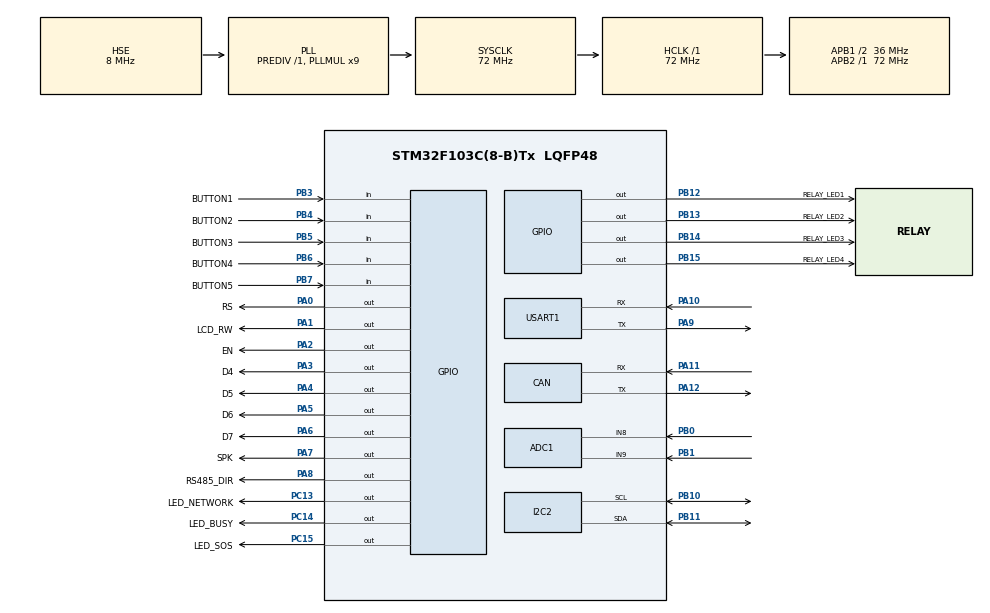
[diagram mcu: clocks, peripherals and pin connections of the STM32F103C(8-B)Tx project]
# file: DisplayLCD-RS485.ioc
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ADC1.Channel-0\#ChannelRegularConversion=ADC_CHANNEL_8
ADC1.Channel-1\#ChannelRegularConversion=ADC_CHANNEL_9
ADC1.ContinuousConvMode=ENABLE
ADC1.DataAlign=ADC_DATAALIGN_RIGHT
ADC1.DiscontinuousConvMode=DISABLE
ADC1.EnableAnalogWatchDog=false
ADC1.EnableRegularConversion=ENABLE
ADC1.ExternalTrigConv=ADC_SOFTWARE_START
ADC1.InjNumberOfConversion=0
ADC1.NbrOfConversion=2
ADC1.NbrOfConversionFlag=1
ADC1.Rank-0\#ChannelRegularConversion=1
ADC1.Rank-1\#ChannelRegularConversion=2
ADC1.SamplingTime-0\#ChannelRegularConversion=ADC_SAMPLETIME_41CYCLES_5
ADC1.SamplingTime-1\#ChannelRegularConversion=ADC_SAMPLETIME_41CYCLES_5
ADC1.ScanConvMode=ADC_SCAN_ENABLE
ADC1.master=1
CAN.BS1=CAN_BS1_1TQ
CAN.BS2=CAN_BS2_1TQ
CAN.CalculateTimeBit=1333
CAN.CalculateTimeQuantum=444.44444444444446
Dma.ADC1.0.Direction=DMA_PERIPH_TO_MEMORY
Dma.ADC1.0.Instance=DMA1_Channel1
Dma.ADC1.0.MemDataAlignment=DMA_MDATAALIGN_HALFWORD
Dma.ADC1.0.MemInc=DMA_MINC_ENABLE
Dma.ADC1.0.Mode=DMA_CIRCULAR
Dma.ADC1.0.PeriphDataAlignment=DMA_PDATAALIGN_HALFWORD
Dma.ADC1.0.PeriphInc=DMA_PINC_DISABLE
Dma.ADC1.0.Priority=DMA_PRIORITY_LOW
Dma.Request0=ADC1
IWDG.Prescaler=IWDG_PRESCALER_256
IWDG.Reload=1624
Mcu.Family=STM32F1
Mcu.Name=STM32F103C(8-B)Tx
Mcu.Package=LQFP48
NVIC.DMA1_Channel1_IRQn=true\:0\:0\:false\:false\:true\:false
NVIC.PriorityGroup=NVIC_PRIORITYGROUP_4
NVIC.USART1_IRQn=true\:0\:0\:false\:false\:true\:true
PA0-WKUP.GPIO_Label=RS
PA0-WKUP.GPIO_ModeDefaultOutputPP=GPIO_MODE_OUTPUT_PP
PA0-WKUP.GPIO_PuPd=GPIO_NOPULL
PA0-WKUP.GPIO_Speed=GPIO_SPEED_FREQ_HIGH
PA0-WKUP.PinState=GPIO_PIN_RESET
PA0-WKUP.Signal=GPIO_Output
PA1.GPIO_Label=LCD_RW
PA1.GPIO_ModeDefaultOutputPP=GPIO_MODE_OUTPUT_PP
PA1.GPIO_PuPd=GPIO_NOPULL
PA1.GPIO_Speed=GPIO_SPEED_FREQ_HIGH
PA1.PinState=GPIO_PIN_RESET
PA1.Signal=GPIO_Output
PA10.Mode=Asynchronous
PA10.Signal=USART1_RX
PA11.Mode=Master
PA11.Signal=CAN_RX
PA12.Mode=Master
PA12.Signal=CAN_TX
PA13.Mode=Serial_Wire
PA13.Signal=SYS_JTMS-SWDIO
PA14.Mode=Serial_Wire
PA14.Signal=SYS_JTCK-SWCLK
PA2.GPIO_Label=EN
PA2.GPIO_ModeDefaultOutputPP=GPIO_MODE_OUTPUT_PP
PA2.GPIO_PuPd=GPIO_NOPULL
PA2.GPIO_Speed=GPIO_SPEED_FREQ_HIGH
PA2.PinState=GPIO_PIN_RESET
PA2.Signal=GPIO_Output
PA3.GPIO_Label=D4
PA3.GPIO_ModeDefaultOutputPP=GPIO_MODE_OUTPUT_PP
PA3.GPIO_PuPd=GPIO_NOPULL
PA3.GPIO_Speed=GPIO_SPEED_FREQ_HIGH
PA3.PinState=GPIO_PIN_RESET
PA3.Signal=GPIO_Output
PA4.GPIO_Label=D5
PA4.GPIO_ModeDefaultOutputPP=GPIO_MODE_OUTPUT_PP
PA4.GPIO_PuPd=GPIO_NOPULL
PA4.GPIO_Speed=GPIO_SPEED_FREQ_HIGH
PA4.PinState=GPIO_PIN_RESET
PA4.Signal=GPIO_Output
PA5.GPIO_Label=D6
PA5.GPIO_ModeDefaultOutputPP=GPIO_MODE_OUTPUT_PP
PA5.GPIO_PuPd=GPIO_NOPULL
PA5.GPIO_Speed=GPIO_SPEED_FREQ_HIGH
PA5.PinState=GPIO_PIN_RESET
PA5.Signal=GPIO_Output
PA6.GPIO_Label=D7
PA6.GPIO_ModeDefaultOutputPP=GPIO_MODE_OUTPUT_PP
PA6.GPIO_PuPd=GPIO_NOPULL
PA6.GPIO_Speed=GPIO_SPEED_FREQ_HIGH
PA6.PinState=GPIO_PIN_RESET
PA6.Signal=GPIO_Output
PA7.GPIO_Label=SPK
PA7.GPIO_PuPd=GPIO_PULLUP
PA7.GPIO_Speed=GPIO_SPEED_FREQ_LOW
PA7.PinState=GPIO_PIN_RESET
PA7.Signal=GPIO_Output
PA8.GPIO_Label=RS485_DIR
PA8.GPIO_PuPd=GPIO_PULLDOWN
PA8.GPIO_Speed=GPIO_SPEED_FREQ_HIGH
PA8.PinState=GPIO_PIN_RESET
PA8.Signal=GPIO_Output
PA9.Mode=Asynchronous
PA9.Signal=USART1_TX
PB0.Signal=ADCx_IN8
PB1.Signal=ADCx_IN9
PB10.Mode=I2C
PB10.Signal=I2C2_SCL
PB11.Mode=I2C
PB11.Signal=I2C2_SDA
PB12.GPIO_Label=RELAY_LED1
PB12.GPIO_ModeDefaultOutputPP=GPIO_MODE_OUTPUT_PP
PB12.GPIO_PuPd=GPIO_PULLDOWN
PB12.PinState=GPIO_PIN_SET
PB12.Signal=GPIO_Output
PB13.GPIO_Label=RELAY_LED2
PB13.GPIO_ModeDefaultOutputPP=GPIO_MODE_OUTPUT_PP
PB13.GPIO_PuPd=GPIO_PULLDOWN
PB13.PinState=GPIO_PIN_SET
PB13.Signal=GPIO_Output
PB14.GPIO_Label=RELAY_LED3
PB14.GPIO_ModeDefaultOutputPP=GPIO_MODE_OUTPUT_PP
PB14.GPIO_PuPd=GPIO_PULLDOWN
PB14.PinState=GPIO_PIN_SET
PB14.Signal=GPIO_Output
PB15.GPIO_Label=RELAY_LED4
PB15.GPIO_ModeDefaultOutputPP=GPIO_MODE_OUTPUT_PP
PB15.GPIO_PuPd=GPIO_PULLDOWN
PB15.PinState=GPIO_PIN_SET
PB15.Signal=GPIO_Output
PB3.GPIO_Label=BUTTON1
PB3.GPIO_Mode=GPIO_MODE_INPUT
PB3.Signal=GPIO_Input
PB4.GPIO_Label=BUTTON2
PB4.GPIO_Mode=GPIO_MODE_INPUT
PB4.Signal=GPIO_Input
PB5.GPIO_Label=BUTTON3
PB5.GPIO_Mode=GPIO_MODE_INPUT
PB5.Signal=GPIO_Input
PB6.GPIO_Label=BUTTON4
PB6.GPIO_Mode=GPIO_MODE_INPUT
PB6.Signal=GPIO_Input
PB7.GPIO_Label=BUTTON5
PB7.GPIO_Mode=GPIO_MODE_INPUT
PB7.Signal=GPIO_Input
PC13-TAMPER-RTC.GPIO_Label=LED_NETWORK
PC13-TAMPER-RTC.GPIO_ModeDefaultOutputPP=GPIO_MODE_OUTPUT_PP
PC13-TAMPER-RTC.GPIO_PuPd=GPIO_PULLDOWN
PC13-TAMPER-RTC.PinState=GPIO_PIN_SET
PC13-TAMPER-RTC.Signal=GPIO_Output
PC14-OSC32_IN.GPIO_Label=LED_BUSY
PC14-OSC32_IN.GPIO_ModeDefaultOutputPP=GPIO_MODE_OUTPUT_PP
PC14-OSC32_IN.GPIO_PuPd=GPIO_PULLDOWN
PC14-OSC32_IN.PinState=GPIO_PIN_SET
PC14-OSC32_IN.Signal=GPIO_Output
PC15-OSC32_OUT.GPIO_Label=LED_SOS
PC15-OSC32_OUT.GPIO_ModeDefaultOutputPP=GPIO_MODE_OUTPUT_PP
PC15-OSC32_OUT.GPIO_PuPd=GPIO_PULLDOWN
PC15-OSC32_OUT.PinState=GPIO_PIN_SET
PC15-OSC32_OUT.Signal=GPIO_Output
PD0-OSC_IN.Mode=HSE-External-Oscillator
PD0-OSC_IN.Signal=RCC_OSC_IN
PD1-OSC_OUT.Mode=HSE-External-Oscillator
PD1-OSC_OUT.Signal=RCC_OSC_OUT
ProjectManager.HeapSize=0x200
ProjectManager.StackSize=0x400
ProjectManager.TargetToolchain=MDK-ARM V5
RCC.ADCPresc=RCC_ADCPCLK2_DIV6
RCC.AHBFreq_Value=72000000
RCC.APB1CLKDivider=RCC_HCLK_DIV2
RCC.APB1Freq_Value=36000000
RCC.APB1TimFreq_Value=72000000
RCC.APB2Freq_Value=72000000
RCC.APB2TimFreq_Value=72000000
RCC.HCLKFreq_Value=72000000
RCC.PLLMUL=RCC_PLL_MUL9
RCC.PLLSourceVirtual=RCC_PLLSOURCE_HSE
RCC.SYSCLKFreq_VALUE=72000000
RCC.SYSCLKSource=RCC_SYSCLKSOURCE_PLLCLK
RCC.USBFreq_Value=72000000
SH.ADCx_IN8.0=ADC1_IN8,IN8
SH.ADCx_IN9.0=ADC1_IN9,IN9
USART1.VirtualMode=VM_ASYNC
VP_IWDG_VS_IWDG.Mode=IWDG_Activate
board=custom

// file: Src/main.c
/**
  ******************************************************************************
  * @file           : main.c
  * @brief          : Main program body
  ******************************************************************************
  ** This notice applies to any and all portions of this file
  * that are not between comment pairs USER CODE BEGIN and
  * USER CODE END. Other portions of this file, whether
  * inserted by the user or by software development tools
  * are owned by their respective copyright owners.
  *
  * COPYRIGHT(c) 2020 STMicroelectronics
  *
  * Redistribution and use in source and binary forms, with or without modification,
  * are permitted provided that the following conditions are met:
  *   1. Redistributions of source code must retain the above copyright notice,
  *      this list of conditions and the following disclaimer.
  *   2. Redistributions in binary form must reproduce the above copyright notice,
  *      this list of conditions and the following disclaimer in the documentation
  *      and/or other materials provided with the distribution.
  *   3. Neither the name of STMicroelectronics nor the names of its contributors
  *      may be used to endorse or promote products derived from this software
  *      without specific prior written permission.
  *
  * THIS SOFTWARE IS PROVIDED BY THE COPYRIGHT HOLDERS AND CONTRIBUTORS "AS IS"
  * AND ANY EXPRESS OR IMPLIED WARRANTIES, INCLUDING, BUT NOT LIMITED TO, THE
  * IMPLIED WARRANTIES OF MERCHANTABILITY AND FITNESS FOR A PARTICULAR PURPOSE ARE
  * DISCLAIMED. IN NO EVENT SHALL THE COPYRIGHT HOLDER OR CONTRIBUTORS BE LIABLE
  * FOR ANY DIRECT, INDIRECT, INCIDENTAL, SPECIAL, EXEMPLARY, OR CONSEQUENTIAL
  * DAMAGES (INCLUDING, BUT NOT LIMITED TO, PROCUREMENT OF SUBSTITUTE GOODS OR
  * SERVICES; LOSS OF USE, DATA, OR PROFITS; OR BUSINESS INTERRUPTION) HOWEVER
  * CAUSED AND ON ANY THEORY OF LIABILITY, WHETHER IN CONTRACT, STRICT LIABILITY,
  * OR TORT (INCLUDING NEGLIGENCE OR OTHERWISE) ARISING IN ANY WAY OUT OF THE USE
  * OF THIS SOFTWARE, EVEN IF ADVISED OF THE POSSIBILITY OF SUCH DAMAGE.
  *
  ******************************************************************************
  */
#include "main.h"
#include "stm32f1xx_hal.h"

/* USER CODE BEGIN Includes */
/***********************************************************************************************************
   ___  _    _ _     _
  / _ \| |__(_) |_  | |_ ___ __ _ _ __
 | (_) | '_ \ |  _| |  _/ -_) _` | '  \
  \___/|_.__/_|\__|  \__\___\__,_|_|_|_|

Hanoi, Creartive by UP, 20/7/2019
Xbus Rs485
Using STM8S003F3P6 + Slock AKS
-------------------------------------------------------------------------------------------------------------------------------------------
Code by Chu Tien Thinh
--------------------------------------------------------------------------------------------------------------------------------------------
tienthinh.obit@gmail.com
chutienthinh.bk@gmail.com
+84981762826
https://www.facebook.com/thinh.chutien
https://www.facebook.com/obit.team/
https://obitvn.wordpress.com/
************************************************************************************************************/

#include "lcd1602.h"

uint8_t ADD_MASTER=0;

#include "Rs485.h"
#include "read_switch.h"
/* USER CODE END Includes */

ADC_HandleTypeDef hadc1;
DMA_HandleTypeDef hdma_adc1;

CAN_HandleTypeDef hcan;

I2C_HandleTypeDef hi2c2;

IWDG_HandleTypeDef hiwdg;

UART_HandleTypeDef huart1;

/* USER CODE BEGIN PV */
/* Private variables ---------------------------------------------------------*/

volatile uint8_t rx_data;
uint8_t AddDevice;
uint16_t adc[2], count_check_adc;

extern uint8_t DataBuff[RS485_UART_BUFFER_MAX_SIZE];

/* USER CODE END PV */

void SystemClock_Config(void);
static void MX_GPIO_Init(void);
static void MX_DMA_Init(void);
static void MX_ADC1_Init(void);
static void MX_I2C2_Init(void);
static void MX_CAN_Init(void);
static void MX_USART1_UART_Init(void);
static void MX_IWDG_Init(void);

/* USER CODE BEGIN PFP */
/* Private function prototypes -----------------------------------------------*/

/* USER CODE END PFP */

/* USER CODE BEGIN 0 */
void HAL_UART_RxCpltCallback(UART_HandleTypeDef *huart)
{
  if(huart->Instance==huart1.Instance)
  {
    UART_CallBack();
  }
}
/* USER CODE END 0 */

int main(void)
{

  /* MCU Configuration----------------------------------------------------------*/

  /* Reset of all peripherals, Initializes the Flash interface and the Systick. */
  HAL_Init();

  /* Configure the system clock */
  SystemClock_Config();

  /* Initialize all configured peripherals */
  MX_GPIO_Init();
  MX_DMA_Init();
  MX_ADC1_Init();
  MX_I2C2_Init();
  MX_CAN_Init();
  MX_USART1_UART_Init();
  MX_IWDG_Init();
  /* USER CODE BEGIN 2 */
	HAL_GPIO_WritePin(RS485_DIR_GPIO_Port,RS485_DIR_Pin,0);
	LCD_Init();
	HAL_Delay(100);
	LCD_Clear();
	ButtonSendToRs485(ADD_MASTER,32);
	AddDevice = AddressBoard();
	HAL_Delay(100);
	AddDevice = AddressBoard();
	while(!AddDevice)
  {
		count_check_adc ++;
		ButtonSendToRs485(ADD_MASTER,16);
		LCD_Gotoxy(0,0);
		//UART_Puts("Board ERROR\r\n", sizeof("Board ERROR\r\n"));
		LCD_Gotoxy(0,1);
		LCD_Puts("Address is 0x00");
    AddDevice = AddressBoard();
    HAL_GPIO_WritePin(SPK_GPIO_Port,SPK_Pin,0);
    HAL_Delay(100);
		HAL_GPIO_WritePin(SPK_GPIO_Port,SPK_Pin,1);
    HAL_Delay(100);
		if(AddDevice!=0)
		{
			LCD_Clear();
			break;
		}
		if(count_check_adc>10)
		{
			count_check_adc=0;
			AddDevice=0xff;
			break;
		}

  }
	HAL_GPIO_WritePin(SPK_GPIO_Port,SPK_Pin,0);
  LCD_Gotoxy(0,0);
  LCD_Puts("  AKS VIETNAM  ");
  LCD_Gotoxy(0,1);
	LCD_Puts("      BKS      ");
	HAL_Delay(1000);
	LCD_Gotoxy(0,0);
	LCD_Puts("               ");
	LCD_Gotoxy(0,1);
	LCD_Puts("               ");
	LCD_Clear();
  HAL_UART_Receive_IT(&huart1,&rx_data,1);
  IWDG->KR = 0xAAAA; // Writing 0xAAAA in the Key register prevents watchdog reset
	IWDG->KR = 0xCCCC; // Start the independent watchdog timer
  /* USER CODE END 2 */

  /* Infinite loop */
  /* USER CODE BEGIN WHILE */
  while (1)
  {

   ProcessBuffInWhileLoop();
	 IWDG->KR = 0xAAAA;
  /* USER CODE END WHILE */

  }

}

void SystemClock_Config(void)
{

  RCC_OscInitTypeDef RCC_OscInitStruct;
  RCC_ClkInitTypeDef RCC_ClkInitStruct;
  RCC_PeriphCLKInitTypeDef PeriphClkInit;

    /**Initializes the CPU, AHB and APB busses clocks
    */
  RCC_OscInitStruct.OscillatorType = RCC_OSCILLATORTYPE_LSI|RCC_OSCILLATORTYPE_HSE;
  RCC_OscInitStruct.HSEState = RCC_HSE_ON;
  RCC_OscInitStruct.HSEPredivValue = RCC_HSE_PREDIV_DIV1;
  RCC_OscInitStruct.HSIState = RCC_HSI_ON;
  RCC_OscInitStruct.LSIState = RCC_LSI_ON;
  RCC_OscInitStruct.PLL.PLLState = RCC_PLL_ON;
  RCC_OscInitStruct.PLL.PLLSource = RCC_PLLSOURCE_HSE;
  RCC_OscInitStruct.PLL.PLLMUL = RCC_PLL_MUL9;
  if (HAL_RCC_OscConfig(&RCC_OscInitStruct) != HAL_OK)
  {
    _Error_Handler(__FILE__, __LINE__);
  }

    /**Initializes the CPU, AHB and APB busses clocks
    */
  RCC_ClkInitStruct.ClockType = RCC_CLOCKTYPE_HCLK|RCC_CLOCKTYPE_SYSCLK
                              |RCC_CLOCKTYPE_PCLK1|RCC_CLOCKTYPE_PCLK2;
  RCC_ClkInitStruct.SYSCLKSource = RCC_SYSCLKSOURCE_PLLCLK;
  RCC_ClkInitStruct.AHBCLKDivider = RCC_SYSCLK_DIV1;
  RCC_ClkInitStruct.APB1CLKDivider = RCC_HCLK_DIV2;
  RCC_ClkInitStruct.APB2CLKDivider = RCC_HCLK_DIV1;

  if (HAL_RCC_ClockConfig(&RCC_ClkInitStruct, FLASH_LATENCY_2) != HAL_OK)
  {
    _Error_Handler(__FILE__, __LINE__);
  }

  PeriphClkInit.PeriphClockSelection = RCC_PERIPHCLK_ADC;
  PeriphClkInit.AdcClockSelection = RCC_ADCPCLK2_DIV6;
  if (HAL_RCCEx_PeriphCLKConfig(&PeriphClkInit) != HAL_OK)
  {
    _Error_Handler(__FILE__, __LINE__);
  }

    /**Configure the Systick interrupt time
    */
  HAL_SYSTICK_Config(HAL_RCC_GetHCLKFreq()/1000);

    /**Configure the Systick
    */
  HAL_SYSTICK_CLKSourceConfig(SYSTICK_CLKSOURCE_HCLK);

  /* SysTick_IRQn interrupt configuration */
  HAL_NVIC_SetPriority(SysTick_IRQn, 0, 0);
}

/* ADC1 init function */
static void MX_ADC1_Init(void)
{

  ADC_ChannelConfTypeDef sConfig;

    /**Common config
    */
  hadc1.Instance = ADC1;
  hadc1.Init.ScanConvMode = ADC_SCAN_ENABLE;
  hadc1.Init.ContinuousConvMode = ENABLE;
  hadc1.Init.DiscontinuousConvMode = DISABLE;
  hadc1.Init.ExternalTrigConv = ADC_SOFTWARE_START;
  hadc1.Init.DataAlign = ADC_DATAALIGN_RIGHT;
  hadc1.Init.NbrOfConversion = 2;
  if (HAL_ADC_Init(&hadc1) != HAL_OK)
  {
    _Error_Handler(__FILE__, __LINE__);
  }

    /**Configure Regular Channel
    */
  sConfig.Channel = ADC_CHANNEL_8;
  sConfig.Rank = ADC_REGULAR_RANK_1;
  sConfig.SamplingTime = ADC_SAMPLETIME_41CYCLES_5;
  if (HAL_ADC_ConfigChannel(&hadc1, &sConfig) != HAL_OK)
  {
    _Error_Handler(__FILE__, __LINE__);
  }

    /**Configure Regular Channel
    */
  sConfig.Channel = ADC_CHANNEL_9;
  sConfig.Rank = ADC_REGULAR_RANK_2;
  if (HAL_ADC_ConfigChannel(&hadc1, &sConfig) != HAL_OK)
  {
    _Error_Handler(__FILE__, __LINE__);
  }

}

/* CAN init function */
static void MX_CAN_Init(void)
{

  hcan.Instance = CAN1;
  hcan.Init.Prescaler = 16;
  hcan.Init.Mode = CAN_MODE_NORMAL;
  hcan.Init.SJW = CAN_SJW_1TQ;
  hcan.Init.BS1 = CAN_BS1_1TQ;
  hcan.Init.BS2 = CAN_BS2_1TQ;
  hcan.Init.TTCM = DISABLE;
  hcan.Init.ABOM = DISABLE;
  hcan.Init.AWUM = DISABLE;
  hcan.Init.NART = DISABLE;
  hcan.Init.RFLM = DISABLE;
  hcan.Init.TXFP = DISABLE;
  if (HAL_CAN_Init(&hcan) != HAL_OK)
  {
    _Error_Handler(__FILE__, __LINE__);
  }

}

/* I2C2 init function */
static void MX_I2C2_Init(void)
{

  hi2c2.Instance = I2C2;
  hi2c2.Init.ClockSpeed = 100000;
  hi2c2.Init.DutyCycle = I2C_DUTYCYCLE_2;
  hi2c2.Init.OwnAddress1 = 0;
  hi2c2.Init.AddressingMode = I2C_ADDRESSINGMODE_7BIT;
  hi2c2.Init.DualAddressMode = I2C_DUALADDRESS_DISABLE;
  hi2c2.Init.OwnAddress2 = 0;
  hi2c2.Init.GeneralCallMode = I2C_GENERALCALL_DISABLE;
  hi2c2.Init.NoStretchMode = I2C_NOSTRETCH_DISABLE;
  if (HAL_I2C_Init(&hi2c2) != HAL_OK)
  {
    _Error_Handler(__FILE__, __LINE__);
  }

}

/* IWDG init function */
static void MX_IWDG_Init(void)
{

  hiwdg.Instance = IWDG;
  hiwdg.Init.Prescaler = IWDG_PRESCALER_256;
  hiwdg.Init.Reload = 1624;
  if (HAL_IWDG_Init(&hiwdg) != HAL_OK)
  {
    _Error_Handler(__FILE__, __LINE__);
  }

}

/* USART1 init function */
static void MX_USART1_UART_Init(void)
{

  huart1.Instance = USART1;
  huart1.Init.BaudRate = 115200;
  huart1.Init.WordLength = UART_WORDLENGTH_8B;
  huart1.Init.StopBits = UART_STOPBITS_1;
  huart1.Init.Parity = UART_PARITY_NONE;
  huart1.Init.Mode = UART_MODE_TX_RX;
  huart1.Init.HwFlowCtl = UART_HWCONTROL_NONE;
  huart1.Init.OverSampling = UART_OVERSAMPLING_16;
  if (HAL_UART_Init(&huart1) != HAL_OK)
  {
    _Error_Handler(__FILE__, __LINE__);
  }

}

static void MX_DMA_Init(void)
{
  /* DMA controller clock enable */
  __HAL_RCC_DMA1_CLK_ENABLE();

  /* DMA interrupt init */
  /* DMA1_Channel1_IRQn interrupt configuration */
  HAL_NVIC_SetPriority(DMA1_Channel1_IRQn, 0, 0);
  HAL_NVIC_EnableIRQ(DMA1_Channel1_IRQn);

}

/** Configure pins as
        * Analog
        * Input
        * Output
        * EVENT_OUT
        * EXTI
*/
static void MX_GPIO_Init(void)
{

  GPIO_InitTypeDef GPIO_InitStruct;

  /* GPIO Ports Clock Enable */
  __HAL_RCC_GPIOC_CLK_ENABLE();
  __HAL_RCC_GPIOD_CLK_ENABLE();
  __HAL_RCC_GPIOA_CLK_ENABLE();
  __HAL_RCC_GPIOB_CLK_ENABLE();

  /*Configure GPIO pin Output Level */
  HAL_GPIO_WritePin(GPIOC, LED_NETWORK_Pin|LED_BUSY_Pin|LED_SOS_Pin, GPIO_PIN_SET);

  /*Configure GPIO pin Output Level */
  HAL_GPIO_WritePin(GPIOA, RS_Pin|LCD_RW_Pin|EN_Pin|D4_Pin
                          |D5_Pin|D6_Pin|D7_Pin|SPK_Pin
                          |RS485_DIR_Pin, GPIO_PIN_RESET);

  /*Configure GPIO pin Output Level */
  HAL_GPIO_WritePin(GPIOB, RELAY_LED1_Pin|RELAY_LED2_Pin|RELAY_LED3_Pin|RELAY_LED4_Pin, GPIO_PIN_SET);

  /*Configure GPIO pins : LED_NETWORK_Pin LED_BUSY_Pin LED_SOS_Pin */
  GPIO_InitStruct.Pin = LED_NETWORK_Pin|LED_BUSY_Pin|LED_SOS_Pin;
  GPIO_InitStruct.Mode = GPIO_MODE_OUTPUT_PP;
  GPIO_InitStruct.Pull = GPIO_PULLDOWN;
  GPIO_InitStruct.Speed = GPIO_SPEED_FREQ_LOW;
  HAL_GPIO_Init(GPIOC, &GPIO_InitStruct);

  /*Configure GPIO pins : RS_Pin LCD_RW_Pin EN_Pin D4_Pin
                           D5_Pin D6_Pin D7_Pin */
  GPIO_InitStruct.Pin = RS_Pin|LCD_RW_Pin|EN_Pin|D4_Pin
                          |D5_Pin|D6_Pin|D7_Pin;
  GPIO_InitStruct.Mode = GPIO_MODE_OUTPUT_PP;
  GPIO_InitStruct.Pull = GPIO_NOPULL;
  GPIO_InitStruct.Speed = GPIO_SPEED_FREQ_HIGH;
  HAL_GPIO_Init(GPIOA, &GPIO_InitStruct);

  /*Configure GPIO pin : SPK_Pin */
  GPIO_InitStruct.Pin = SPK_Pin;
  GPIO_InitStruct.Mode = GPIO_MODE_OUTPUT_PP;
  GPIO_InitStruct.Pull = GPIO_PULLUP;
  GPIO_InitStruct.Speed = GPIO_SPEED_FREQ_LOW;
  HAL_GPIO_Init(SPK_GPIO_Port, &GPIO_InitStruct);

  /*Configure GPIO pins : RELAY_LED1_Pin RELAY_LED2_Pin RELAY_LED3_Pin RELAY_LED4_Pin */
  GPIO_InitStruct.Pin = RELAY_LED1_Pin|RELAY_LED2_Pin|RELAY_LED3_Pin|RELAY_LED4_Pin;
  GPIO_InitStruct.Mode = GPIO_MODE_OUTPUT_PP;
  GPIO_InitStruct.Pull = GPIO_PULLDOWN;
  GPIO_InitStruct.Speed = GPIO_SPEED_FREQ_LOW;
  HAL_GPIO_Init(GPIOB, &GPIO_InitStruct);

  /*Configure GPIO pin : RS485_DIR_Pin */
  GPIO_InitStruct.Pin = RS485_DIR_Pin;
  GPIO_InitStruct.Mode = GPIO_MODE_OUTPUT_PP;
  GPIO_InitStruct.Pull = GPIO_PULLDOWN;
  GPIO_InitStruct.Speed = GPIO_SPEED_FREQ_HIGH;
  HAL_GPIO_Init(RS485_DIR_GPIO_Port, &GPIO_InitStruct);

  /*Configure GPIO pins : BUTTON1_Pin BUTTON2_Pin BUTTON3_Pin BUTTON4_Pin
                           BUTTON5_Pin */
  GPIO_InitStruct.Pin = BUTTON1_Pin|BUTTON2_Pin|BUTTON3_Pin|BUTTON4_Pin
                          |BUTTON5_Pin;
  GPIO_InitStruct.Mode = GPIO_MODE_INPUT;
  GPIO_InitStruct.Pull = GPIO_NOPULL;
  HAL_GPIO_Init(GPIOB, &GPIO_InitStruct);

}

void _Error_Handler(char *file, int line)
{
  while(1)
  {
  }
}

/************************ (C) COPYRIGHT STMicroelectronics *****END OF FILE****/
